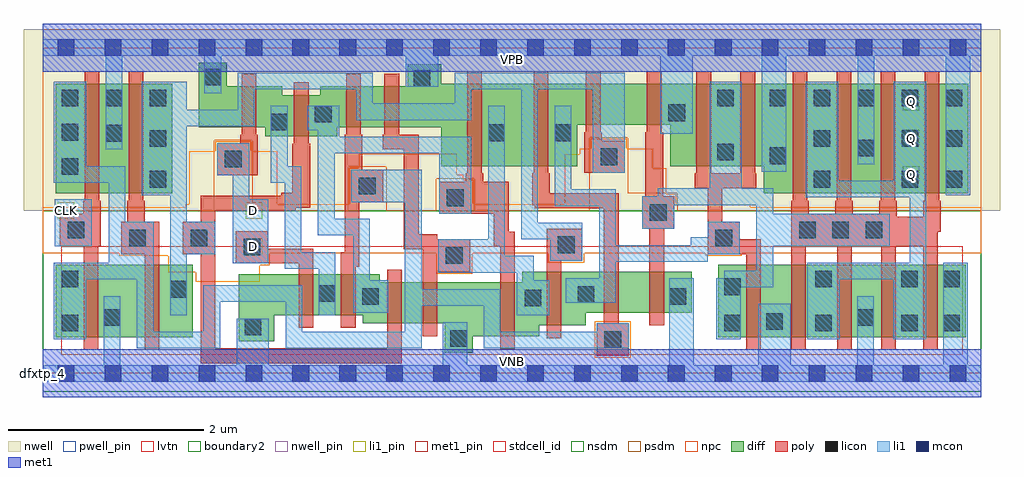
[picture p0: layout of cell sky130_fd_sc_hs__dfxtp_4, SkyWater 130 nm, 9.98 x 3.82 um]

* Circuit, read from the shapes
.subckt sky130_fd_sc_hs__dfxtp_4 CLK D Q VGND VNB VPB VPWR
XM1 VGND CLK n1 VNB sky130_fd_pr__nfet_01v8_lvt w=0.74 l=0.15
XM2 n2 n1 VGND VNB sky130_fd_pr__nfet_01v8_lvt w=0.74 l=0.15
XM3 n3 D VGND VNB sky130_fd_pr__nfet_01v8_lvt w=0.42 l=0.15
XM4 n4 n1 n3 VNB sky130_fd_pr__nfet_01v8_lvt w=0.42 l=0.15
XM5 n5 n2 n4 VNB sky130_fd_pr__nfet_01v8_lvt w=0.42 l=0.15
XM6 VGND n6 n5 VNB sky130_fd_pr__nfet_01v8_lvt w=0.42 l=0.15
XM7 n6 n4 VGND VNB sky130_fd_pr__nfet_01v8_lvt w=0.55 l=0.15
XM8 n7 n2 n6 VNB sky130_fd_pr__nfet_01v8_lvt w=0.55 l=0.15
XM9 n8 n1 n7 VNB sky130_fd_pr__nfet_01v8_lvt w=0.42 l=0.15
XM10 VGND n9 n8 VNB sky130_fd_pr__nfet_01v8_lvt w=0.42 l=0.15
XM11 VGND n7 n9 VNB sky130_fd_pr__nfet_01v8_lvt w=0.74 l=0.15
XM12 Q n9 VGND VNB sky130_fd_pr__nfet_01v8_lvt w=0.74 l=0.15 m=4
XM13 VPWR CLK n1 VPB sky130_fd_pr__pfet_01v8 w=1.12 l=0.15
XM14 n2 n1 VPWR VPB sky130_fd_pr__pfet_01v8 w=1.12 l=0.15
XM15 n3 D VPWR VPB sky130_fd_pr__pfet_01v8 w=0.42 l=0.15
XM16 n4 n2 n3 VPB sky130_fd_pr__pfet_01v8 w=0.42 l=0.15
XM17 n10 n1 n4 VPB sky130_fd_pr__pfet_01v8 w=0.42 l=0.15
XM18 VPWR n6 n10 VPB sky130_fd_pr__pfet_01v8 w=0.42 l=0.15
XM19 n6 n4 VPWR VPB sky130_fd_pr__pfet_01v8 w=0.84 l=0.15
XM20 n7 n1 n6 VPB sky130_fd_pr__pfet_01v8 w=0.84 l=0.15
XM21 n11 n2 n7 VPB sky130_fd_pr__pfet_01v8 w=0.42 l=0.15
XM22 VPWR n9 n11 VPB sky130_fd_pr__pfet_01v8 w=0.42 l=0.15
XM23 n9 n7 VPWR VPB sky130_fd_pr__pfet_01v8 w=0.84 l=0.15 m=2
XM24 Q n9 VPWR VPB sky130_fd_pr__pfet_01v8 w=1.12 l=0.15 m=4
.ends

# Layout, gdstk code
import gdstk
lib = gdstk.Library(unit=1e-6, precision=1e-09)
def R(c, l, rs):  # rectangles x0, y0, x1, y1
    for r in rs: c.add(gdstk.rectangle(r[:2], r[2:], *l))
def A(c, l, x, y, w, h, nx, ny, dx, dy):  # array of equal rectangles
    R(c, l, [(x+i*dx, y+j*dy, x+i*dx+w, y+j*dy+h) for i in range(nx) for j in range(ny)])
def P(c, l, *ps):  # polygons
    for p in ps: c.add(gdstk.Polygon(p, *l))
nwell_pin = (64, 16)
nwell = (64, 20)
diff = (65, 20)
poly = (66, 20)
licon = (66, 44)
li1_pin = (67, 16)
li1 = (67, 20)
mcon = (67, 44)
met1_pin = (68, 16)
met1 = (68, 20)
stdcell_id = (81, 4)
nsdm = (93, 44)
psdm = (94, 20)
npc = (95, 20)
pwell_pin = (122, 16)
lvtn = (125, 44)
boundary2 = (236, 0)

sky130_fd_sc_hs__dfxtp_4 = lib.new_cell('sky130_fd_sc_hs__dfxtp_4')
R(sky130_fd_sc_hs__dfxtp_4, nwell_pin, [(0,3.085,9.6,3.33)])
R(sky130_fd_sc_hs__dfxtp_4, nwell, [(-0.19,1.66,9.79,3.52)])
R(sky130_fd_sc_hs__dfxtp_4, diff, [(0.135,0.37,1.535,1.11), (6.91,0.37,9.44,1.11), (0.135,1.84,1.325,2.96)])
P(sky130_fd_sc_hs__dfxtp_4, diff, [(6.64,1.04),(4.905,1.04),(4.905,0.93),(3.45,0.93),(3.45,1.015),(2.005,1.015),(2.005,0.33),(2.37,0.33),(2.37,0.595),(3.275,0.595),(3.275,0.51),(4.11,0.51),(4.11,0.21),(4.4,0.21),(4.4,0.38),(5.08,0.38),(5.08,0.49),(5.555,0.49),(5.555,0.62),(6.64,0.62)],
  [(9.465,2.96),(4.075,2.96),(4.075,3.16),(3.735,3.16),(3.735,2.935),(2.84,2.935),(2.84,2.845),(2.45,2.845),(2.45,2.935),(1.885,2.935),(1.885,3.175),(1.595,3.175),(1.595,2.515),(2.275,2.515),(2.275,2.425),(3.015,2.425),(3.015,2.515),(4.075,2.515),(4.075,2.12),(5.465,2.12),(5.465,2.54),(6.42,2.54),(6.42,2.12),(7.375,2.12),(7.375,1.84),(9.465,1.84)])
P(sky130_fd_sc_hs__dfxtp_4, poly, [(0.595,1.765),(0.58,1.765),(0.58,3.09),(0.43,3.09),(0.43,1.765),(0.415,1.765),(0.415,1.63),(0.175,1.63),(0.175,1.3),(0.42,1.3),(0.42,0.24),(0.57,0.24),(0.57,1.3),(0.595,1.3)],
  [(1.195,1.55),(1.045,1.55),(1.045,1.765),(1.03,1.765),(1.03,3.09),(0.88,3.09),(0.88,1.765),(0.865,1.765),(0.865,1.55),(0.805,1.55),(0.805,1.22),(1.045,1.22),(1.045,0.24),(1.195,0.24)],
  [(2.2,2.44),(2.185,2.44),(2.185,3.065),(2.035,3.065),(2.035,2.44),(2.02,2.44),(2.02,2.355),(1.785,2.355),(1.785,2.025),(2.2,2.025)],
  [(2.77,1.275),(2.305,1.275),(2.305,1.455),(1.975,1.455),(1.975,1.125),(2.62,1.125),(2.62,0.465),(2.77,0.465)],
  [(3.485,2.08),(3.27,2.08),(3.27,2.44),(3.255,2.44),(3.255,3.065),(3.105,3.065),(3.105,2.44),(3.09,2.44),(3.09,1.24),(3.05,1.24),(3.05,0.465),(3.2,0.465),(3.2,1.09),(3.24,1.09),(3.24,1.75),(3.485,1.75)],
  [(3.675,1.06),(3.525,1.06),(3.525,0.255),(1.765,0.255),(1.765,1.665),(2.59,1.665),(2.59,1.695),(2.735,1.695),(2.735,2.35),(2.72,2.35),(2.72,2.975),(2.57,2.975),(2.57,2.35),(2.555,2.35),(2.555,1.845),(2.44,1.845),(2.44,1.815),(1.615,1.815),(1.615,1.55),(1.435,1.55),(1.435,1.22),(1.615,1.22),(1.615,0.105),(3.675,0.105)],
  [(4.375,1.37),(4.035,1.37),(4.035,1.42),(3.845,1.42),(3.845,2.44),(3.645,2.44),(3.645,3.065),(3.495,3.065),(3.495,2.44),(3.48,2.44),(3.48,2.29),(3.695,2.29),(3.695,1.27),(3.885,1.27),(3.885,0.38),(4.035,0.38),(4.035,1.04),(4.375,1.04)],
  [(4.83,1.45),(4.765,1.45),(4.765,1.96),(4.505,1.96),(4.505,2.045),(4.49,2.045),(4.49,3.09),(4.34,3.09),(4.34,2.045),(4.325,2.045),(4.325,1.96),(4.055,1.96),(4.055,1.63),(4.615,1.63),(4.615,1.3),(4.68,1.3),(4.68,0.25),(4.83,0.25)],
  [(5.52,1.48),(5.155,1.48),(5.155,0.36),(5.305,0.36),(5.305,1.15),(5.52,1.15)],
  [(5.955,2.38),(5.72,2.38),(5.72,2.465),(5.705,2.465),(5.705,3.09),(5.555,3.09),(5.555,2.465),(5.54,2.465),(5.54,2.05),(5.955,2.05)],
  [(5.995,0.51),(5.89,0.51),(5.89,1.84),(5.185,1.84),(5.185,2.045),(5.17,2.045),(5.17,3.09),(5.02,3.09),(5.02,2.045),(5.005,2.045),(5.005,1.72),(5.035,1.72),(5.035,1.69),(5.74,1.69),(5.74,0.51),(5.665,0.51),(5.665,0.18),(5.995,0.18)],
  [(6.46,1.81),(6.345,1.81),(6.345,2.465),(6.33,2.465),(6.33,3.09),(6.18,3.09),(6.18,2.465),(6.165,2.465),(6.165,1.81),(6.13,1.81),(6.13,1.48),(6.205,1.48),(6.205,0.49),(6.355,0.49),(6.355,1.48),(6.46,1.48)],
  [(7.345,1.37),(7.13,1.37),(7.13,1.55),(6.95,1.55),(6.95,1.895),(7.3,1.895),(7.3,2.045),(7.285,2.045),(7.285,3.09),(7.135,3.09),(7.135,2.045),(6.835,2.045),(6.835,3.09),(6.685,3.09),(6.685,2.045),(6.67,2.045),(6.67,1.895),(6.8,1.895),(6.8,1.22),(7.195,1.22),(7.195,0.24),(7.345,0.24)],
  [(9.185,1.765),(9.17,1.765),(9.17,3.09),(9.02,3.09),(9.02,1.765),(9.005,1.765),(9.005,1.6),(8.735,1.6),(8.735,1.765),(8.72,1.765),(8.72,3.09),(8.57,3.09),(8.57,1.765),(8.555,1.765),(8.555,1.63),(8.285,1.63),(8.285,1.765),(8.27,1.765),(8.27,3.09),(8.12,3.09),(8.12,1.765),(8.105,1.765),(8.105,1.63),(7.835,1.63),(7.835,1.765),(7.82,1.765),(7.82,3.09),(7.67,3.09),(7.67,1.765),(7.655,1.765),(7.655,0.24),(7.805,0.24),(7.805,1.3),(8.125,1.3),(8.125,0.24),(8.275,0.24),(8.275,1.3),(8.575,1.3),(8.575,0.24),(8.725,0.24),(8.725,1.3),(9.005,1.3),(9.005,0.24),(9.155,0.24),(9.155,1.45),(9.185,1.45)])
A(sky130_fd_sc_hs__dfxtp_4, licon, 7.735, 1.38, 0.17, 0.17, 3, 1, 0.34, 0)
A(sky130_fd_sc_hs__dfxtp_4, licon, 0.195, 2.73, 0.17, 0.17, 3, 1, 0.45, 0)
A(sky130_fd_sc_hs__dfxtp_4, licon, 7.435, 2.73, 0.17, 0.17, 5, 1, 0.45, 0)
R(sky130_fd_sc_hs__dfxtp_4, licon, [(5.745,0.26,5.915,0.43), (4.17,0.27,4.34,0.44), (2.065,0.39,2.235,0.56), (0.195,0.43,0.365,0.6), (6.97,0.43,7.14,0.6), (7.9,0.43,8.07,0.6), (8.78,0.43,8.95,0.6), (9.21,0.43,9.38,0.6), (7.4,0.445,7.57,0.615), (0.625,0.485,0.795,0.655), (8.33,0.485,8.5,0.655), (4.93,0.685,5.1,0.855), (3.27,0.7,3.44,0.87), (6.41,0.7,6.58,0.87), (5.47,0.72,5.64,0.89), (2.825,0.73,2.995,0.9), (1.305,0.775,1.475,0.945), (6.97,0.8,7.14,0.97), (0.195,0.88,0.365,1.05), (7.9,0.88,8.07,1.05), (8.78,0.88,8.95,1.05), (9.21,0.88,9.38,1.05), (4.125,1.12,4.295,1.29), (2.055,1.205,2.225,1.375), (5.27,1.23,5.44,1.4), (0.885,1.3,1.055,1.47), (1.515,1.3,1.685,1.47), (6.88,1.3,7.05,1.47), (0.255,1.38,0.425,1.55), (6.21,1.56,6.38,1.73), (4.135,1.71,4.305,1.88), (3.235,1.83,3.405,2), (1.095,1.9,1.265,2.07), (7.885,1.9,8.055,2.07), (8.785,1.9,8.955,2.07), (9.235,1.9,9.405,2.07), (0.195,2.03,0.365,2.2), (1.865,2.105,2.035,2.275), (5.705,2.13,5.875,2.3), (7.435,2.14,7.605,2.31), (6.9,2.18,7.07,2.35), (8.335,2.22,8.505,2.39), (1.095,2.315,1.265,2.485), (7.885,2.315,8.055,2.485), (8.785,2.315,8.955,2.485), (9.235,2.315,9.405,2.485), (0.645,2.37,0.815,2.54), (4.555,2.375,4.725,2.545), (5.235,2.375,5.405,2.545), (0.195,2.38,0.365,2.55), (2.335,2.485,2.505,2.655), (2.785,2.565,2.955,2.735), (6.4,2.58,6.57,2.75), (6.9,2.73,7.07,2.9), (3.795,2.93,3.965,3.1), (1.655,2.945,1.825,3.115)])
A(sky130_fd_sc_hs__dfxtp_4, li1_pin, 8.795, 1.95, 0.17, 0.17, 1, 3, 0, 0.37)
R(sky130_fd_sc_hs__dfxtp_4, li1_pin, [(2.075,1.21,2.245,1.38), (0.155,1.58,0.325,1.75), (2.075,1.58,2.245,1.75)])
R(sky130_fd_sc_hs__dfxtp_4, li1, [(0.125,1.3,0.505,1.78)])
P(sky130_fd_sc_hs__dfxtp_4, li1, [(0,-0.085),(0,0.085),(0.625,0.085),(0.625,0.79),(0.795,0.79),(0.795,0.085),(1.985,0.085),(1.985,0.56),(2.315,0.56),(2.315,0.085),(4.09,0.085),(4.09,0.52),(4.34,0.52),(4.34,0.085),(6.41,0.085),(6.41,0.97),(6.66,0.97),(6.66,0.085),(7.32,0.085),(7.32,0.71),(7.65,0.71),(7.65,0.085),(8.33,0.085),(8.33,0.79),(8.5,0.79),(8.5,0.085),(9.21,0.085),(9.21,1.13),(9.46,1.13),(9.46,0.085),(9.6,0.085),(9.6,-0.085)],
  [(0,3.245),(0,3.415),(9.6,3.415),(9.6,3.245),(9.485,3.245),(9.485,1.82),(9.235,1.82),(9.235,3.245),(8.505,3.245),(8.505,2.14),(8.335,2.14),(8.335,3.245),(7.605,3.245),(7.605,2.06),(7.355,2.06),(7.355,3.245),(6.65,3.245),(6.65,2.45),(6.315,2.45),(6.315,3.245),(4.045,3.245),(4.045,2.93),(3.715,2.93),(3.715,3.245),(1.825,3.245),(1.825,2.865),(1.655,2.865),(1.655,3.245),(0.815,3.245),(0.815,2.29),(0.645,2.29),(0.645,3.245)],
  [(8.705,1.97),(8.705,2.98),(9.035,2.98),(9.035,0.35),(8.7,0.35),(8.7,0.96),(8.15,0.96),(8.15,0.35),(7.82,0.35),(7.82,1.13),(8.865,1.13),(8.865,1.8),(7.805,1.8),(7.805,2.98),(8.135,2.98),(8.135,1.97)],
  [(2.115,1.78),(2.305,1.78),(2.305,1.125),(1.945,1.125),(1.945,2.025),(1.785,2.025),(1.785,2.355),(2.115,2.355)],
  [(6.82,1.89),(6.82,2.98),(7.15,2.98),(7.15,1.89),(7.47,1.89),(7.47,1.63),(8.665,1.63),(8.665,1.3),(7.47,1.3),(7.47,0.88),(7.14,0.88),(7.14,0.35),(6.89,0.35),(6.89,0.97),(6.97,0.97),(6.97,1.05),(7.3,1.05),(7.3,1.72),(6.46,1.72),(6.46,1.48),(6.13,1.48),(6.13,1.81),(6.29,1.81),(6.29,1.89)],
  [(4.85,0.595),(4.85,1.03),(4.045,1.03),(4.045,1.37),(4.555,1.37),(4.555,2.735),(4.725,2.735),(4.725,1.2),(5.02,1.2),(5.02,0.95),(5.18,0.95),(5.18,0.595)],
  [(3.155,1.75),(3.155,2.08),(3.875,2.08),(3.875,0.86),(4.68,0.86),(4.68,0.425),(5.665,0.425),(5.665,0.51),(5.995,0.51),(5.995,0.255),(4.51,0.255),(4.51,0.69),(3.875,0.69),(3.875,0.255),(2.485,0.255),(2.485,0.73),(1.815,0.73),(1.815,0.255),(0.965,0.255),(0.965,0.96),(0.445,0.96),(0.445,0.35),(0.115,0.35),(0.115,1.13),(0.675,1.13),(0.675,1.95),(0.115,1.95),(0.115,2.98),(0.445,2.98),(0.445,2.12),(0.845,2.12),(0.845,1.55),(1.135,1.55),(1.135,0.425),(1.645,0.425),(1.645,0.9),(2.655,0.9),(2.655,0.425),(3.705,0.425),(3.705,1.75)],
  [(1.475,1.55),(1.765,1.55),(1.765,1.22),(1.475,1.22),(1.475,0.595),(1.305,0.595),(1.305,1.82),(1.015,1.82),(1.015,2.98),(1.475,2.98),(1.475,2.695),(1.995,2.695),(1.995,3.075),(3.375,3.075),(3.375,2.76),(4.215,2.76),(4.215,3.075),(5.955,3.075),(5.955,2.05),(5.625,2.05),(5.625,2.905),(5.065,2.905),(5.065,1.54),(5.52,1.54),(5.52,1.15),(5.19,1.15),(5.19,1.37),(4.895,1.37),(4.895,2.905),(4.385,2.905),(4.385,2.59),(3.205,2.59),(3.205,2.905),(2.165,2.905),(2.165,2.525),(1.475,2.525)],
  [(2.815,1.41),(2.815,2.485),(2.705,2.485),(2.705,2.735),(3.035,2.735),(3.035,2.42),(4.385,2.42),(4.385,1.63),(4.055,1.63),(4.055,2.25),(2.985,2.25),(2.985,1.58),(3.345,1.58),(3.345,0.95),(3.535,0.95),(3.535,0.62),(3.175,0.62),(3.175,1.41)],
  [(2.335,1.95),(2.335,2.735),(2.505,2.735),(2.505,2.12),(2.645,2.12),(2.645,1.24),(2.995,1.24),(2.995,0.595),(2.825,0.595),(2.825,1.07),(2.475,1.07),(2.475,1.95)],
  [(5.69,0.97),(5.69,1.71),(5.235,1.71),(5.235,2.735),(5.405,2.735),(5.405,1.88),(5.86,1.88),(5.86,1.31),(6.63,1.31),(6.63,1.39),(6.8,1.39),(6.8,1.55),(7.13,1.55),(7.13,1.22),(6.8,1.22),(6.8,1.14),(5.86,1.14),(5.86,0.72),(5.35,0.72),(5.35,0.97)])
A(sky130_fd_sc_hs__dfxtp_4, mcon, 0.155, -0.085, 0.17, 0.17, 20, 2, 0.48, 3.33)
R(sky130_fd_sc_hs__dfxtp_4, met1_pin, [(0,0,9.6,0.245), (0,3.085,9.6,3.33)])
R(sky130_fd_sc_hs__dfxtp_4, met1, [(0,-0.245,9.6,0.245), (0,3.085,9.6,3.575)])
R(sky130_fd_sc_hs__dfxtp_4, stdcell_id, [(0,0,9.6,3.33)])
R(sky130_fd_sc_hs__dfxtp_4, nsdm, [(0,-0.19,9.6,1.66)])
P(sky130_fd_sc_hs__dfxtp_4, psdm, [(9.6,3.52),(0,3.52),(0,1.66),(1.755,1.66),(1.755,2.385),(2.145,2.385),(2.145,1.66),(3.125,1.66),(3.125,2.11),(3.515,2.11),(3.515,1.66),(4.025,1.66),(4.025,1.99),(4.415,1.99),(4.415,1.66),(5.595,1.66),(5.595,2.41),(5.985,2.41),(5.985,1.84),(6.49,1.84),(6.49,1.66),(9.6,1.66)])
R(sky130_fd_sc_hs__dfxtp_4, npc, [(5.645,0.16,6.015,0.53)])
P(sky130_fd_sc_hs__dfxtp_4, npc, [(9.6,1.7),(7.235,1.7),(7.235,1.73),(6.48,1.73),(6.48,1.83),(6.375,1.83),(6.375,2.095),(6.24,2.095),(6.24,2.295),(5.975,2.295),(5.975,2.4),(5.605,2.4),(5.605,2.295),(5.495,2.295),(5.495,2.24),(5.34,2.24),(5.34,1.73),(4.405,1.73),(4.405,1.98),(4.3,1.98),(4.3,2.03),(4.235,2.03),(4.235,2.245),(3.24,2.245),(3.24,2.1),(3.135,2.1),(3.135,1.73),(2.4,1.73),(2.4,2.27),(2.135,2.27),(2.135,2.375),(1.765,2.375),(1.765,2.27),(1.5,2.27),(1.5,1.73),(1.465,1.73),(1.465,1.7),(0,1.7),(0,1.23),(0.785,1.23),(0.785,1.2),(1.285,1.2),(1.285,1.035),(1.565,1.035),(1.565,0.935),(2.22,0.935),(2.22,1.105),(2.325,1.105),(2.325,1.23),(4.025,1.23),(4.025,1.02),(4.395,1.02),(4.395,1.23),(5.17,1.23),(5.17,1.13),(5.54,1.13),(5.54,1.23),(6.78,1.23),(6.78,1.2),(7.15,1.2),(7.15,1.23),(9.6,1.23)])
R(sky130_fd_sc_hs__dfxtp_4, pwell_pin, [(0,0,9.6,0.245)])
R(sky130_fd_sc_hs__dfxtp_4, lvtn, [(0.19,0.19,9.41,1.3)])
R(sky130_fd_sc_hs__dfxtp_4, boundary2, [(0,0,9.6,3.33)])
sky130_fd_sc_hs__dfxtp_4.add(gdstk.Label('dfxtp_4', (0,0), layer=83, texttype=44))
sky130_fd_sc_hs__dfxtp_4.add(gdstk.Label('VNB', (4.8,0.123), layer=64, texttype=59))
sky130_fd_sc_hs__dfxtp_4.add(gdstk.Label('VPB', (4.8,3.208), layer=64, texttype=5))
sky130_fd_sc_hs__dfxtp_4.add(gdstk.Label('VPWR', (4.8,3.208), layer=68, texttype=5))
sky130_fd_sc_hs__dfxtp_4.add(gdstk.Label('VGND', (4.8,0.123), layer=68, texttype=5))
sky130_fd_sc_hs__dfxtp_4.add(gdstk.Label('Q', (8.88,2.035), layer=67, texttype=5))
sky130_fd_sc_hs__dfxtp_4.add(gdstk.Label('Q', (8.88,2.405), layer=67, texttype=5))
sky130_fd_sc_hs__dfxtp_4.add(gdstk.Label('Q', (8.88,2.775), layer=67, texttype=5))
sky130_fd_sc_hs__dfxtp_4.add(gdstk.Label('D', (2.16,1.295), layer=67, texttype=5))
sky130_fd_sc_hs__dfxtp_4.add(gdstk.Label('D', (2.16,1.665), layer=67, texttype=5))
sky130_fd_sc_hs__dfxtp_4.add(gdstk.Label('CLK', (0.24,1.665), layer=67, texttype=5))

lib.write_gds('sky130_fd_sc_hs__dfxtp_4.gds')
